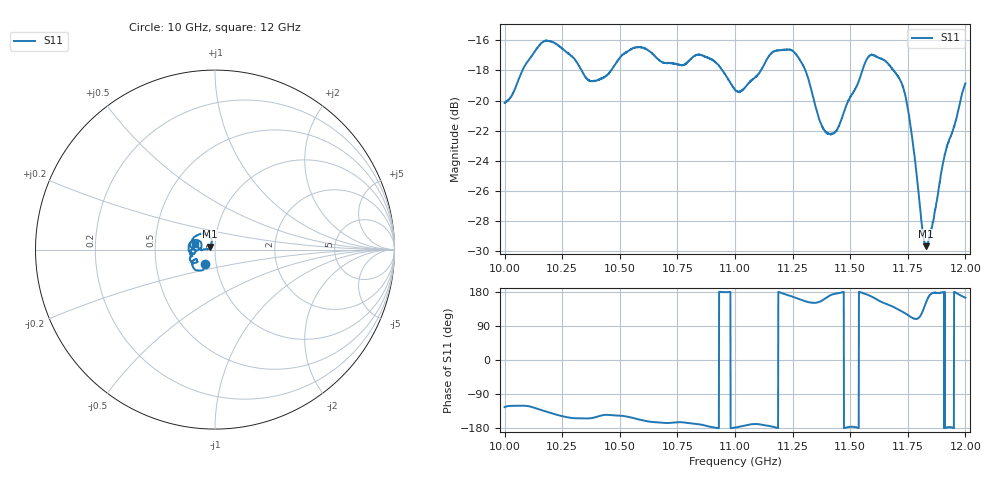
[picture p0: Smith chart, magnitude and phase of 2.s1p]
[Version] 2.0
! Rohde & Schwarz Vector Network Analyzer
! Rohde-Schwarz,ZNL20-2Port,1323001220200009,1.71.1.10-23.02.1.238
! Port Assignments:
! Nominal Port -> Actual Test Port
!  1 -> 1
! Created: GMT 2024-08-27 13:48:38
# Hz S DB R 50
[Number of Ports] 1
! freq[Hz]  S11[mag dB]  S11[ang]
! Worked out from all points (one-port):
!   2001 points, 10 GHz to 12 GHz, reference 50 ohm
!   lowest |S11| = -29.7 dB at 11.83 GHz (marker M1), VSWR 1.07, Z = 47.2 + j1.54 ohm
!   |S11| at or under -10 dB: start of sweep to end of sweep
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[Number of Frequencies] 28
[Network Data]
1e10  -20.16 -124.2
1.0159e10  -16.18 -132.1
1.025e10  -16.55 -148.2
1.0377e10  -18.72 -153.3
1.0443e10  -18.35 -144.9
1.05e10  -17.16 -147.0
1.0589e10  -16.44 -157.8
1.075e10  -17.60 -164.3
1.0881e10  -17.16 -174.6
1.1e10  -19.29 -178.3
1.1038e10  -19.23 -173.8
1.1164e10  -16.78 -175.9
1.125e10  -16.69 166.9
1.1304e10  -17.95 155.3
1.1365e10  -21.24 153.2
1.1397e10  -22.15 164.3
1.1442e10  -21.96 175.9
1.15e10  -19.76 -176.2
1.1571e10  -17.30 173.2
1.1598e10  -16.97 165.8
1.1706e10  -18.38 134.1
1.175e10  -20.56 118.3
1.1778e10  -23.53 109.0
1.1813e10  -28.54 126.6
1.1828e10  -29.68 150.3
1.1855e10  -28.39 175.7
1.1913e10  -23.45 -179.0
1.2e10  -18.87 164.2
[End]
